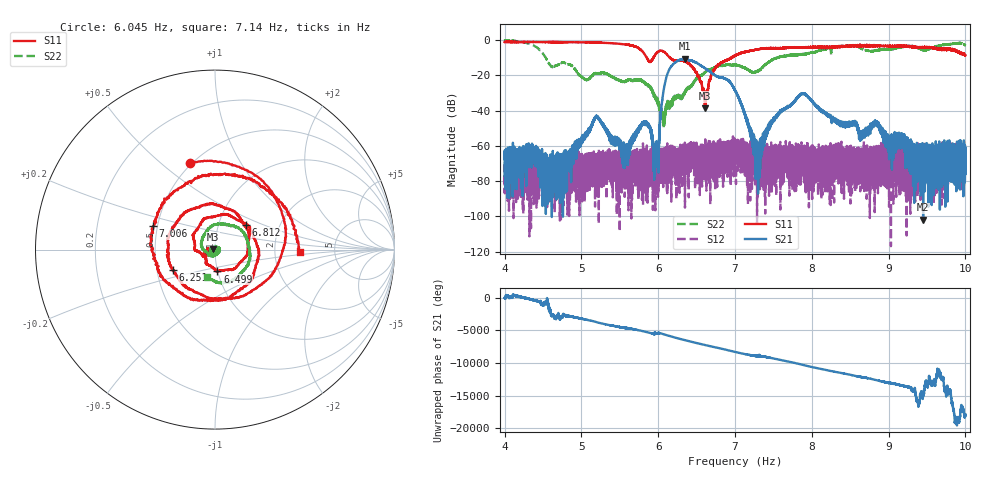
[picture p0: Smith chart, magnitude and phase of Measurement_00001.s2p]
!Created with skrf (http://scikit-rf.org).
# Hz S RI R 50.0
!freq ReS11 ImS11 ReS21 ImS21 ReS12 ImS12 ReS22 ImS22
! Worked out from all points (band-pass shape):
!   14001 points, 4 Hz to 10 Hz, reference 50 ohm
!   highest |S21| = -10.61 dB at 6.352 Hz (marker M1); lowest = -102.0 dB at 9.45 Hz (marker M2)
!   |S21| within 3 dB of the highest: 6.197 Hz to 6.528 Hz (331.5 mHz wide, 5.21 % of centre); 6.528234 Hz to 6.528983 Hz (748.5 uHz wide, 0.0115 % of centre)
!   lowest |S11| = -38.7 dB at 6.612 Hz (marker M3), VSWR 1.02, Z = 48.8 + j0.0772 ohm
!   |S11| at or under -10 dB: 5.852 Hz to 5.937 Hz (84.71 mHz wide, 1.44 % of centre); 6.153 Hz to 6.952 Hz (798.8 mHz wide, 12.2 % of centre); 6.952149 Hz to 6.95451 Hz (2.361 mHz wide, 0.034 % of centre)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
!   |S22| runs from -50.1 to -0.2 dB; largest |S21 - S12| = 0.3
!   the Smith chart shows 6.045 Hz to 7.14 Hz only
!   S11 on the Smith chart (normalised r, x): 6.045 Hz: 0.49, +0.63; 6.251 Hz: 0.61, -0.15; 6.499 Hz: 1.00, -0.25; 6.812 Hz: 1.35, +0.40; 7.006 Hz: 0.47, +0.14; 7.14 Hz: 2.80, -0.11
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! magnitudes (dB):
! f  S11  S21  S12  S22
! 4 Hz  -1.1  -76.9  -77.2  -0.2
! 4.639 Hz  -1.1  -72.2  -73.8  -15.1
! 5 Hz  -1.2  -56.1  -74.7  -20.6
! 5.199 Hz  -1.4  -43.6  -81.1  -18.8
! 5.57 Hz  -2.4  -61.5  -74.7  -23.4
! 5.812 Hz  -7.3  -47.0  -64.6  -23.9
! 6 Hz  -6.5  -64.3  -68.7  -35.0
! 6.045 Hz  -6.0  -36.8  -65.7  -40.5
! 6.251 Hz  -11.8  -11.9  -64.6  -32.5
! 6.352 Hz  -11.8  -10.6  -63.1  -29.5
! 6.499 Hz  -18.2  -12.9  -68.8  -21.7
! 6.612 Hz  -38.7  -16.1  -64.6  -18.2
! 6.812 Hz  -13.1  -21.2  -70.0  -14.6
! 7 Hz  -8.8  -28.4  -59.2  -14.0
! 7.006 Hz  -8.7  -29.0  -62.3  -14.0
! 7.14 Hz  -6.5  -44.5  -64.3  -16.1
! 7.292 Hz  -5.2  -61.5  -76.1  -17.5
! 7.589 Hz  -4.6  -40.9  -60.3  -9.4
! 8 Hz  -4.2  -34.4  -67.9  -6.9
! 9 Hz  -3.5  -55.1  -65.8  -5.1
! 9.45 Hz  -4.1  -102.0  -67.4  -5.6
! 10 Hz  -8.6  -72.8  -62.9  -3.1
